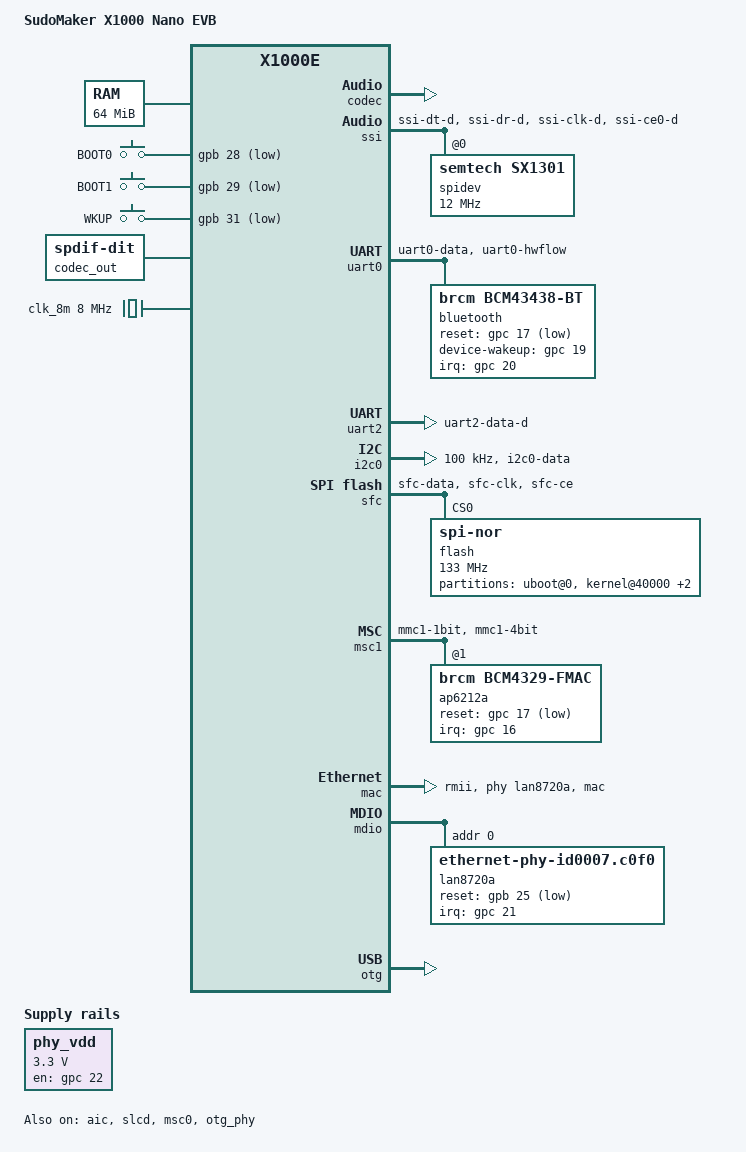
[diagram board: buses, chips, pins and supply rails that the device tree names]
// SPDX-License-Identifier: GPL-2.0
/dts-v1/;

#include "x1000.dtsi"
#include <dt-bindings/gpio/gpio.h>
#include <dt-bindings/input/input.h>
#include <dt-bindings/clock/ingenic,sysost.h>
#include <dt-bindings/interrupt-controller/irq.h>

/ {
	compatible = "sudomaker,x1000-nano-evb", "ingenic,x1000e";
	model = "SudoMaker X1000 Nano EVB";

	aliases {
		serial2 = &uart2;
	};

	chosen {
		stdout-path = "serial2:115200n8";
	};

	memory {
		device_type = "memory";
		reg = <0x0 0x04000000>;
	};

	gpio_keys {
		compatible = "gpio-keys";

		btn_lf {
			wakeup-source;
			label = "BOOT0";
			linux,code = <KEY_F1>;
			gpios = <&gpb 28 GPIO_ACTIVE_LOW>;
		};

		btn_rf {
			wakeup-source;
			label = "BOOT1";
			linux,code = <KEY_F2>;
			gpios = <&gpb 29 GPIO_ACTIVE_LOW>;
		};

		btn_wkup {
			wakeup-source;
			label = "WKUP";
			linux,code = <KEY_F3>;
			gpios = <&gpb 31 GPIO_ACTIVE_LOW>;
		};
	};

	phy_vdd: regulator-phy_vdd {
				compatible = "regulator-fixed";

				regulator-name = "phy_vdd";
				regulator-min-microvolt = <3300000>;
				regulator-max-microvolt = <3300000>;

				gpio = <&gpc 22 GPIO_ACTIVE_HIGH>;
				enable-active-high;
				regulator-always-on;
	};

	sound {
		compatible = "simple-audio-card";

		simple-audio-card,name = "x1000-aic";

		status = "okay";

		simple-audio-card,bitclock-master = <&dai_codec>;
		simple-audio-card,frame-master = <&dai_codec>;

		simple-audio-card,format = "i2s";

		dai_cpu: simple-audio-card,cpu {
			sound-dai = <&aic>;
			system-clock-frequency = <24000000>;
			system-clock-direction-out;
		};

		dai_codec: simple-audio-card,codec {
			sound-dai = <&codec>;
			system-clock-frequency = <24000000>;
		};
	};

	codec_out: i2s-generic {
				#address-cells = <0>;
				#size-cells = <0>;
				#sound-dai-cells = <0>;
				compatible = "linux,spdif-dit";
				status = "okay";
	};

	clk_8m: clock {
		compatible = "fixed-clock";
		#clock-cells = <0>;
		clock-frequency = <8000000>;
		clock-accuracy = <100>;
	};
};

&exclk {
	clock-frequency = <24000000>;
};

&cgu {
	assigned-clocks = <&cgu X1000_CLK_SSIMUX>, <&cgu X1000_CLK_RTC>;
	assigned-clock-parents = <&cgu X1000_CLK_SSIPLL_DIV2>, <&cgu X1000_CLK_EXCLK_DIV512>;
};

&ost {
	/* 1500 kHz for the system timer and clocksource */
	assigned-clocks = <&ost OST_CLK_EVENT_TIMER>, <&ost OST_CLK_GLOBAL_TIMER>;
	assigned-clock-rates = <1500000>, <1500000>;
};

&aic {
	status = "okay";
	pinctrl-names = "default";
	pinctrl-0 = <&pins_i2s>;

	use-internal-codec;
};

&codec {
	status = "okay";
};

&slcd {
	status = "okay";

	pinctrl-names = "default";
	pinctrl-0 = <&pins_slcd>;

	reset-gpios = <&gpc 25 GPIO_ACTIVE_LOW>;
	rd-gpios = <&gpb 16 GPIO_ACTIVE_LOW>;

	width = <240>;
	height = <320>;
	buswidth = <8>;
	bpp = <24>;
	bus-max-speed = <15000000>;

	init-sequence = /bits/ 16 <
		1 0x11 // Sleep out
		3 120 // Sleep 120ms
		1 0x36 2 0x00
		1 0x3a 2 0x06 // RGB888
		1 0xb2 2 0x01 2 0x01 2 0x00 2 0x33 2 0x33
		1 0xb7 2 0x35
		1 0xbb 2 0x28
		1 0xc0 2 0x2c
		1 0xc2 2 0x01
		1 0xc3 2 0x0b
		1 0xc4 2 0x20
		1 0xc6 2 0x05 // Frame Rate Control in Normal Mode
		1 0x0e 2 0x00 2 0x80 // TE enable
		1 0xd0 2 0xa4 2 0xa1
		1 0x29 // Display on
	>;

};

&ssi {
	status = "okay";

	pinctrl-names = "default";
	pinctrl-0 = <&pins_spi0>;

	num-cs = <1>;
	cs-gpios = <0>;

	spidev: spidev@0 {
		reg = <0>;
		compatible = "semtech,sx1301";

		spi-max-frequency = <12000000>;
	};

};

&uart0 {
		status = "okay";

		pinctrl-names = "default";
		pinctrl-0 = <&pins_uart0>;

		uart-has-rtscts;

		bluetooth {
				compatible = "brcm,bcm43438-bt";
				max-speed = <1000000>;
				brcm,bt-pcm-int-params = [01 02 00 01 01];
				reset-gpios = <&gpc 17 GPIO_ACTIVE_LOW>;
				device-wakeup-gpios = <&gpc 19 GPIO_ACTIVE_HIGH>;
				interrupt-parent = <&gpc>;
				interrupts = <20 IRQ_TYPE_EDGE_FALLING>;
		};
};

&uart2 {
	status = "okay";

	pinctrl-names = "default";
	pinctrl-0 = <&pins_uart2>;
};

&i2c0 {
	status = "okay";

	clock-frequency = <100000>;

	pinctrl-names = "default";
	pinctrl-0 = <&pins_i2c0>;
};


&sfc {
	status = "okay";

	#address-cells = <1>;
	#size-cells = <0>;


	pinctrl-names = "default";
	pinctrl-0 = <&pins_sfc>;

	flash: spinor@0 {
		compatible = "jedec,spi-nor";
		spi-max-frequency = <133000000>;
		reg = <0>;

		spi-rx-bus-width = <4>;
		spi-tx-bus-width = <4>;

		partitions {
			compatible = "fixed-partitions";
			#address-cells = <1>;
			#size-cells = <1>;

			uboot@0 {
				reg = <0x0 0x40000>;
			};

			kernel@40000 {
				reg = <0x40000 0x300000>;
				read-only;
			};

			rootfs@340000 {
				reg = <0x340000 0xA00000>;
			};

			overlay@D40000 {
				reg = <0xD40000 0x1000000>;
			};
		};
	};

};

&msc0 {
	status = "okay";

	bus-width = <4>;
	max-frequency = <50000000>;

	pinctrl-names = "default";
	pinctrl-0 = <&pins_msc0>;

	non-removable;
};

&msc1 {
		status = "okay";

		#address-cells = <1>;
		#size-cells = <0>;
		bus-width = <4>;
		max-frequency = <25000000>;

		pinctrl-names = "default";
		pinctrl-0 = <&pins_msc1>;

		non-removable;
		cap-power-off-card;
		keep-power-in-suspend;
		wakeup-source;

		//mmc-pwrseq = <&wlan_pwrseq>;

		ap6212a: wifi@1 {
				compatible = "brcm,bcm4329-fmac";
				reg = <1>;

				interrupt-parent = <&gpc>;
				interrupts = <16 IRQ_TYPE_EDGE_FALLING>;
				interrupt-names = "host-wake";
				wakeup-source;

				reset-gpios = <&gpc 17 GPIO_ACTIVE_LOW>;

				brcm,drive-strength = <10>;
		};
};

&mac {
	status = "okay";

	phy-mode = "rmii";
	phy-handle = <&lan8720a>;

	pinctrl-names = "default";
	pinctrl-0 = <&pins_mac>;
};

&mdio {
	status = "okay";

	lan8720a: ethernet-phy@0 {
		compatible = "ethernet-phy-id0007.c0f0", "ethernet-phy-ieee802.3-c22";
		reg = <0>;

		interrupt-parent = <&gpc>;
		interrupts = <21 IRQ_TYPE_LEVEL_LOW>;
		wakeup-source;

		reset-names = "phy";
		reset-gpios = <&gpb 25 GPIO_ACTIVE_LOW>;
		reset-assert-us = <10000>;
		reset-deassert-us = <30000>;
	};
};

&otg_phy {
	status = "okay";
};

&otg {
	status = "okay";
};

&pinctrl {

	pins_sfc: sfc {
		function = "sfc";
		groups = "sfc-data", "sfc-clk", "sfc-ce";
	};

	pins_slcd: slcd {
		function = "lcd";
		groups = "lcd-8bit";
	};

	pins_spi0: spi0 {
			function = "ssi";
			groups = "ssi-dt-d", "ssi-dr-d", "ssi-clk-d", "ssi-ce0-d";
	};

	pins_uart0: uart0 {
		function = "uart0";
		groups = "uart0-data", "uart0-hwflow";
	};

	pins_uart2: uart2 {
		function = "uart2";
		groups = "uart2-data-d";
	};

	pins_i2c0: i2c0 {
		function = "i2c0";
		groups = "i2c0-data";
		bias-disable;
	};

	pins_i2s: i2s {
		function = "i2s";
		groups = "i2s-data-tx", "i2s-data-rx", "i2s-clk-txrx", "i2s-sysclk";
	};

	pins_msc0: msc0 {
		function = "mmc0";
		groups = "mmc0-1bit", "mmc0-4bit";
	};

	pins_msc1: msc1 {
		function = "mmc1";
		groups = "mmc1-1bit", "mmc1-4bit";
	};

	pins_mac: mac {
		function = "mac";
		groups = "mac";
		bias-disable;
	};
};
